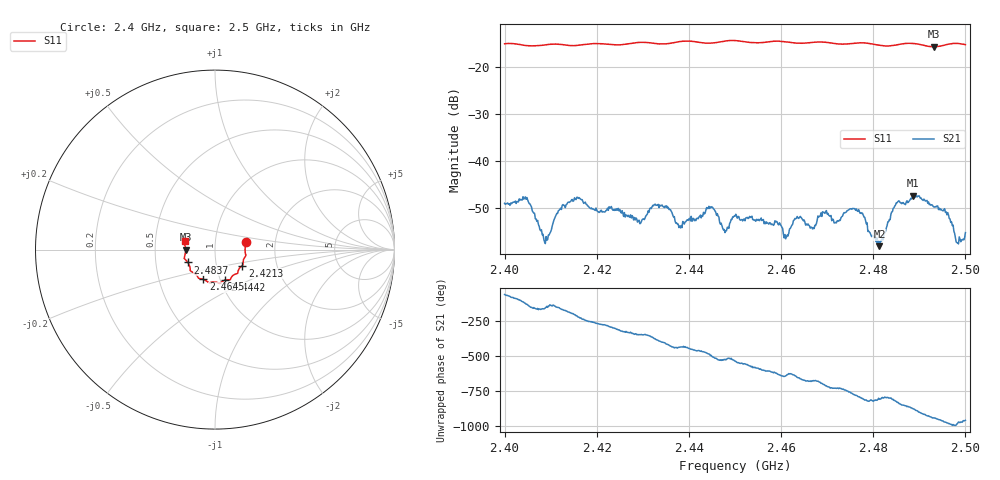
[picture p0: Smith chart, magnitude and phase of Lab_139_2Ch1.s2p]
# Hz S RI R 50
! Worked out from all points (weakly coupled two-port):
!   601 points, 2.4 GHz to 2.5 GHz, reference 50 ohm
!   highest |S21| = -47.40 dB at 2.4887 GHz (marker M1); lowest = -58.2 dB at 2.4813 GHz (marker M2)
!   lowest |S11| = -15.7 dB at 2.4932 GHz (marker M3), VSWR 1.39, Z = 35.9 - j0.0444 ohm
!   |S11| at or under -10 dB: start of sweep to end of sweep
!   S12 and S22 are empty: the file has one direction only
!   S11 on the Smith chart (normalised r, x): 2.4 GHz: 1.41, +0.12; 2.4213 GHz: 1.33, -0.25; 2.4442 GHz: 1.05, -0.37; 2.4645 GHz: 0.83, -0.29; 2.4837 GHz: 0.73, -0.11; 2.5 GHz: 0.71, +0.07
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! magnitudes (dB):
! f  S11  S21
! 2.4 GHz  -15.1  -49.1
! 2.4045 GHz  -15.4  -47.7
! 2.409 GHz  -15.3  -56.1
! 2.4122 GHz  -15.2  -50.1
! 2.4167 GHz  -15.3  -48.3
! 2.4213 GHz  -15.1  -50.8
! 2.4293 GHz  -14.8  -53.4
! 2.4333 GHz  -15.1  -49.3
! 2.438 GHz  -14.6  -53.9
! 2.4442 GHz  -15.0  -50.2
! 2.4478 GHz  -14.5  -55.3
! 2.45 GHz  -14.4  -51.8
! 2.461 GHz  -14.7  -56.6
! 2.4645 GHz  -15.0  -52.3
! 2.4667 GHz  -14.8  -54.2
! 2.4758 GHz  -15.0  -50.2
! 2.4813 GHz  -15.4  -58.2
! 2.4833 GHz  -15.6  -53.0
! 2.4837 GHz  -15.5  -52.5
! 2.4887 GHz  -15.0  -47.4
! 2.4932 GHz  -15.7  -49.9
! 2.5 GHz  -15.3  -55.3
